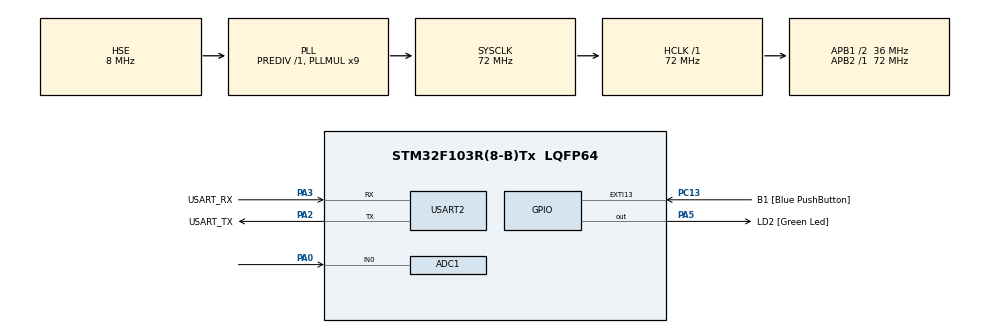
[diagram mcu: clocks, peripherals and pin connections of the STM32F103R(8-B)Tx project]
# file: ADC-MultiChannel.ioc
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ADC1.Channel-0\#ChannelRegularConversion=ADC_CHANNEL_0
ADC1.ContinuousConvMode=ENABLE
ADC1.NbrOfConversion=1
ADC1.NbrOfConversionFlag=1
ADC1.Rank-0\#ChannelRegularConversion=1
ADC1.SamplingTime-0\#ChannelRegularConversion=ADC_SAMPLETIME_239CYCLES_5
ADC1.master=1
Dma.ADC1.0.Direction=DMA_PERIPH_TO_MEMORY
Dma.ADC1.0.Instance=DMA1_Channel1
Dma.ADC1.0.MemDataAlignment=DMA_MDATAALIGN_HALFWORD
Dma.ADC1.0.MemInc=DMA_MINC_ENABLE
Dma.ADC1.0.Mode=DMA_CIRCULAR
Dma.ADC1.0.PeriphDataAlignment=DMA_PDATAALIGN_HALFWORD
Dma.ADC1.0.PeriphInc=DMA_PINC_DISABLE
Dma.ADC1.0.Priority=DMA_PRIORITY_LOW
Dma.Request0=ADC1
Mcu.Family=STM32F1
Mcu.Name=STM32F103R(8-B)Tx
Mcu.Package=LQFP64
NVIC.DMA1_Channel1_IRQn=true\:0\:0\:false\:false\:true\:false\:true\:true
NVIC.EXTI15_10_IRQn=true\:0\:0\:false\:false\:true\:true\:true\:true
NVIC.PriorityGroup=NVIC_PRIORITYGROUP_4
PA0-WKUP.Signal=ADCx_IN0
PA13.GPIO_Label=TMS
PA13.Mode=Serial_Wire
PA13.Signal=SYS_JTMS-SWDIO
PA14.GPIO_Label=TCK
PA14.Mode=Serial_Wire
PA14.Signal=SYS_JTCK-SWCLK
PA2.GPIO_Label=USART_TX
PA2.GPIO_Mode=GPIO_MODE_AF_PP
PA2.GPIO_PuPd=GPIO_NOPULL
PA2.GPIO_Speed=GPIO_SPEED_FREQ_LOW
PA2.Mode=Asynchronous
PA2.Signal=USART2_TX
PA3.GPIO_Label=USART_RX
PA3.GPIO_Mode=GPIO_MODE_AF_PP
PA3.GPIO_PuPd=GPIO_NOPULL
PA3.GPIO_Speed=GPIO_SPEED_FREQ_LOW
PA3.Mode=Asynchronous
PA3.Signal=USART2_RX
PA5.GPIO_Label=LD2 [Green Led]
PA5.GPIO_ModeDefaultOutputPP=GPIO_MODE_OUTPUT_PP
PA5.GPIO_PuPd=GPIO_NOPULL
PA5.GPIO_Speed=GPIO_SPEED_FREQ_LOW
PA5.Signal=GPIO_Output
PB3.GPIO_Label=SWO
PB3.Signal=SYS_JTDO-TRACESWO
PC13-TAMPER-RTC.GPIO_Label=B1 [Blue PushButton]
PC13-TAMPER-RTC.GPIO_PuPd=GPIO_NOPULL
PC13-TAMPER-RTC.Signal=GPXTI13
PC14-OSC32_IN.Mode=LSE-External-Oscillator
PC14-OSC32_IN.Signal=RCC_OSC32_IN
PC15-OSC32_OUT.Mode=LSE-External-Oscillator
PC15-OSC32_OUT.Signal=RCC_OSC32_OUT
PD0-OSC_IN.Mode=HSE-External-Clock-Source
PD0-OSC_IN.Signal=RCC_OSC_IN
PD1-OSC_OUT.Mode=HSE-External-Clock-Source
PD1-OSC_OUT.Signal=RCC_OSC_OUT
ProjectManager.HeapSize=0x200
ProjectManager.StackSize=0x400
ProjectManager.TargetToolchain=STM32CubeIDE
RCC.ADCPresc=RCC_ADCPCLK2_DIV6
RCC.AHBFreq_Value=72000000
RCC.APB1CLKDivider=RCC_HCLK_DIV2
RCC.APB1Freq_Value=36000000
RCC.APB1TimFreq_Value=72000000
RCC.APB2Freq_Value=72000000
RCC.APB2TimFreq_Value=72000000
RCC.HCLKFreq_Value=72000000
RCC.PLLMUL=RCC_PLL_MUL9
RCC.PLLSourceVirtual=RCC_PLLSOURCE_HSE
RCC.RTCClockSelection=RCC_RTCCLKSOURCE_LSE
RCC.SYSCLKFreq_VALUE=72000000
RCC.SYSCLKSource=RCC_SYSCLKSOURCE_PLLCLK
RCC.USBFreq_Value=72000000
SH.ADCx_IN0.0=ADC1_IN0,IN0
USART2.VirtualMode=VM_ASYNC
board=NUCLEO-F103RB

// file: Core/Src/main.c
/* USER CODE BEGIN Header */
/**
  ******************************************************************************
  * @file           : main.c
  * @brief          : Main program body
  ******************************************************************************
  * @attention
  *
  * Copyright (c) 2025 STMicroelectronics.
  * All rights reserved.
  *
  * This software is licensed under terms that can be found in the LICENSE file
  * in the root directory of this software component.
  * If no LICENSE file comes with this software, it is provided AS-IS.
  *
  ******************************************************************************
  */
/* USER CODE END Header */
#include "main.h"

/* USER CODE BEGIN Includes */
#include <math.h>
/* USER CODE END Includes */

/* USER CODE BEGIN PD */
#define readingSize 2
/* USER CODE END PD */

ADC_HandleTypeDef hadc1;
DMA_HandleTypeDef hdma_adc1;

UART_HandleTypeDef huart2;

/* USER CODE BEGIN PV */
uint16_t ADC_VAL[readingSize];
int IsADCFinished = 0;
float ADC_Voltage[readingSize];
float ADC_Position[readingSize];
int Count = 0;
/* USER CODE END PV */

void SystemClock_Config(void);
static void MX_GPIO_Init(void);
static void MX_DMA_Init(void);
static void MX_USART2_UART_Init(void);
static void MX_ADC1_Init(void);
/* USER CODE BEGIN PFP */
float ReadVoltage(uint16_t Analog_Val);
void CleanADC_VAL(void );
float ReadPosition(float voltage);
void HAL_ADC_ConvCpltCallback(ADC_HandleTypeDef *hadc);
/* USER CODE END PFP */

int main(void)
{

  /* MCU Configuration--------------------------------------------------------*/

  /* Reset of all peripherals, Initializes the Flash interface and the Systick. */
  HAL_Init();

  /* Configure the system clock */
  SystemClock_Config();

  /* Initialize all configured peripherals */
  MX_GPIO_Init();
  MX_DMA_Init();
  MX_USART2_UART_Init();
  MX_ADC1_Init();
  /* USER CODE BEGIN 2 */
  HAL_ADC_Start_DMA(&hadc1, (uint32_t *) ADC_VAL, readingSize);
  /* USER CODE END 2 */

  /* Infinite loop */
  while (1)
  {

    /* USER CODE BEGIN 3 */
	  if(IsADCFinished == 1){
		  for(int i = 0; i < readingSize; i++){
			  ADC_Voltage[i] = ReadVoltage(ADC_VAL[i]); // Recebe as tensões convertidas
			  ADC_Position[i] = ReadPosition(ADC_Voltage[i]); // Recebe a Tensão e converte em Posição do potenciometro linear
		  }
		  IsADCFinished = 0;
	  }
	  Count++;
  }
  /* USER CODE END 3 */
}

void SystemClock_Config(void)
{
  RCC_OscInitTypeDef RCC_OscInitStruct = {0};
  RCC_ClkInitTypeDef RCC_ClkInitStruct = {0};
  RCC_PeriphCLKInitTypeDef PeriphClkInit = {0};

  /** Initializes the RCC Oscillators according to the specified parameters
  * in the RCC_OscInitTypeDef structure.
  */
  RCC_OscInitStruct.OscillatorType = RCC_OSCILLATORTYPE_HSE;
  RCC_OscInitStruct.HSEState = RCC_HSE_BYPASS;
  RCC_OscInitStruct.HSEPredivValue = RCC_HSE_PREDIV_DIV1;
  RCC_OscInitStruct.HSIState = RCC_HSI_ON;
  RCC_OscInitStruct.PLL.PLLState = RCC_PLL_ON;
  RCC_OscInitStruct.PLL.PLLSource = RCC_PLLSOURCE_HSE;
  RCC_OscInitStruct.PLL.PLLMUL = RCC_PLL_MUL9;
  if (HAL_RCC_OscConfig(&RCC_OscInitStruct) != HAL_OK)
  {
    Error_Handler();
  }

  /** Initializes the CPU, AHB and APB buses clocks
  */
  RCC_ClkInitStruct.ClockType = RCC_CLOCKTYPE_HCLK|RCC_CLOCKTYPE_SYSCLK
                              |RCC_CLOCKTYPE_PCLK1|RCC_CLOCKTYPE_PCLK2;
  RCC_ClkInitStruct.SYSCLKSource = RCC_SYSCLKSOURCE_PLLCLK;
  RCC_ClkInitStruct.AHBCLKDivider = RCC_SYSCLK_DIV1;
  RCC_ClkInitStruct.APB1CLKDivider = RCC_HCLK_DIV2;
  RCC_ClkInitStruct.APB2CLKDivider = RCC_HCLK_DIV1;

  if (HAL_RCC_ClockConfig(&RCC_ClkInitStruct, FLASH_LATENCY_2) != HAL_OK)
  {
    Error_Handler();
  }
  PeriphClkInit.PeriphClockSelection = RCC_PERIPHCLK_ADC;
  PeriphClkInit.AdcClockSelection = RCC_ADCPCLK2_DIV6;
  if (HAL_RCCEx_PeriphCLKConfig(&PeriphClkInit) != HAL_OK)
  {
    Error_Handler();
  }
}

static void MX_ADC1_Init(void)
{

  ADC_ChannelConfTypeDef sConfig = {0};

  /** Common config
  */
  hadc1.Instance = ADC1;
  hadc1.Init.ScanConvMode = ADC_SCAN_DISABLE;
  hadc1.Init.ContinuousConvMode = ENABLE;
  hadc1.Init.DiscontinuousConvMode = DISABLE;
  hadc1.Init.ExternalTrigConv = ADC_SOFTWARE_START;
  hadc1.Init.DataAlign = ADC_DATAALIGN_RIGHT;
  hadc1.Init.NbrOfConversion = 1;
  if (HAL_ADC_Init(&hadc1) != HAL_OK)
  {
    Error_Handler();
  }

  /** Configure Regular Channel
  */
  sConfig.Channel = ADC_CHANNEL_0;
  sConfig.Rank = ADC_REGULAR_RANK_1;
  sConfig.SamplingTime = ADC_SAMPLETIME_239CYCLES_5;
  if (HAL_ADC_ConfigChannel(&hadc1, &sConfig) != HAL_OK)
  {
    Error_Handler();
  }

}

static void MX_USART2_UART_Init(void)
{

  huart2.Instance = USART2;
  huart2.Init.BaudRate = 115200;
  huart2.Init.WordLength = UART_WORDLENGTH_8B;
  huart2.Init.StopBits = UART_STOPBITS_1;
  huart2.Init.Parity = UART_PARITY_NONE;
  huart2.Init.Mode = UART_MODE_TX_RX;
  huart2.Init.HwFlowCtl = UART_HWCONTROL_NONE;
  huart2.Init.OverSampling = UART_OVERSAMPLING_16;
  if (HAL_UART_Init(&huart2) != HAL_OK)
  {
    Error_Handler();
  }

}

static void MX_DMA_Init(void)
{

  /* DMA controller clock enable */
  __HAL_RCC_DMA1_CLK_ENABLE();

  /* DMA interrupt init */
  /* DMA1_Channel1_IRQn interrupt configuration */
  HAL_NVIC_SetPriority(DMA1_Channel1_IRQn, 0, 0);
  HAL_NVIC_EnableIRQ(DMA1_Channel1_IRQn);

}

static void MX_GPIO_Init(void)
{
  GPIO_InitTypeDef GPIO_InitStruct = {0};

  /* GPIO Ports Clock Enable */
  __HAL_RCC_GPIOC_CLK_ENABLE();
  __HAL_RCC_GPIOD_CLK_ENABLE();
  __HAL_RCC_GPIOA_CLK_ENABLE();
  __HAL_RCC_GPIOB_CLK_ENABLE();

  /*Configure GPIO pin Output Level */
  HAL_GPIO_WritePin(LD2_GPIO_Port, LD2_Pin, GPIO_PIN_RESET);

  /*Configure GPIO pin : B1_Pin */
  GPIO_InitStruct.Pin = B1_Pin;
  GPIO_InitStruct.Mode = GPIO_MODE_IT_RISING;
  GPIO_InitStruct.Pull = GPIO_NOPULL;
  HAL_GPIO_Init(B1_GPIO_Port, &GPIO_InitStruct);

  /*Configure GPIO pin : LD2_Pin */
  GPIO_InitStruct.Pin = LD2_Pin;
  GPIO_InitStruct.Mode = GPIO_MODE_OUTPUT_PP;
  GPIO_InitStruct.Pull = GPIO_NOPULL;
  GPIO_InitStruct.Speed = GPIO_SPEED_FREQ_LOW;
  HAL_GPIO_Init(LD2_GPIO_Port, &GPIO_InitStruct);

  /* EXTI interrupt init*/
  HAL_NVIC_SetPriority(EXTI15_10_IRQn, 0, 0);
  HAL_NVIC_EnableIRQ(EXTI15_10_IRQn);

}

/* USER CODE BEGIN 4 */
float ReadPosition(float voltage){
	float position = (voltage / 3.3f)* 75.0f; // Converte Tensão em Milimetros
	return roundf(position * 100) / 100; // Arredonda para 2 casas decimais
}

float ReadVoltage(uint16_t Analog_Val) {
    float voltage = (Analog_Val * 3.3f) / ((1 << 12) - 1.0f); // Converte um valor analogico para tensão
    return roundf(voltage * 100) / 100;  // Arredonda para 2 casas decimais
}
void CleanADC_VAL(void ){
	for (int i = 0; i < 4; i++) {	// Limpa a variavel de valores analógicos
	    ADC_VAL[i] = 0;
	}
}

void HAL_ADC_ConvCpltCallback(ADC_HandleTypeDef *hadc){
	IsADCFinished = 1;
}
/* USER CODE END 4 */

void Error_Handler(void)
{
  __disable_irq();
  while (1)
  {
  }
}
